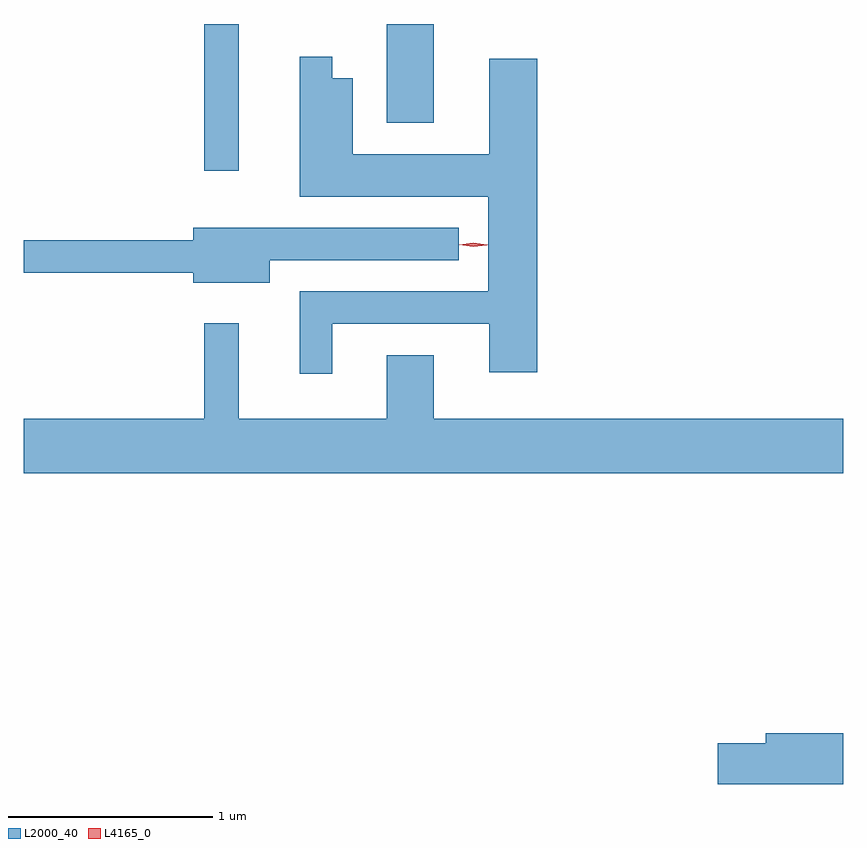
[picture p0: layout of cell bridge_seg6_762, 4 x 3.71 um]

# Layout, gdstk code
import gdstk
lib = gdstk.Library(unit=1e-6, precision=1e-09)
def R(c, l, rs):  # rectangles x0, y0, x1, y1
    for r in rs: c.add(gdstk.rectangle(r[:2], r[2:], *l))
def P(c, l, *ps):  # polygons
    for p in ps: c.add(gdstk.Polygon(p, *l))
L2000_40 = (2000, 40)
L4165_0 = (4165, 0)

bridge_seg6_762 = lib.new_cell('bridge_seg6_762')
R(bridge_seg6_762, L2000_40, [(523.931,1567.053,524.099,1567.769), (524.821,1567.286,525.049,1567.769)])
P(bridge_seg6_762, L2000_40, [(524.554,1566.306),(525.321,1566.306),(525.321,1566.071),(525.554,1566.071),(525.554,1567.599),(525.321,1567.599),(525.321,1567.134),(524.654,1567.134),(524.654,1567.504),(524.554,1567.504),(524.554,1567.608),(524.396,1567.608),(524.396,1566.926),(525.316,1566.926),(525.316,1566.464),(524.396,1566.464),(524.396,1566.063),(524.554,1566.063)],
  [(524.249,1566.616),(525.173,1566.616),(525.173,1566.774),(523.876,1566.774),(523.876,1566.714),(523.049,1566.714),(523.049,1566.556),(523.876,1566.556),(523.876,1566.506),(524.249,1566.506)],
  [(527.049,1565.844),(525.049,1565.844),(525.049,1566.154),(524.821,1566.154),(524.821,1565.844),(524.099,1565.844),(524.099,1566.308),(523.931,1566.308),(523.931,1565.844),(523.049,1565.844),(523.049,1565.576),(527.049,1565.576)],
  [(527.049,1564.309),(526.671,1564.309),(526.671,1564.259),(526.436,1564.259),(526.436,1564.061),(527.049,1564.061)])
P(bridge_seg6_762, L4165_0, [(525.243,1566.682),(525.178,1566.692),(525.177,1566.693),(525.178,1566.693),(525.244,1566.702),(525.309,1566.692),(525.31,1566.691),(525.309,1566.69)],
  [(525.243,1566.682),(525.174,1566.692),(525.173,1566.692),(525.174,1566.693),(525.243,1566.702),(525.312,1566.693),(525.313,1566.692),(525.312,1566.692)])

lib.write_gds('bridge_seg6_762.gds')
